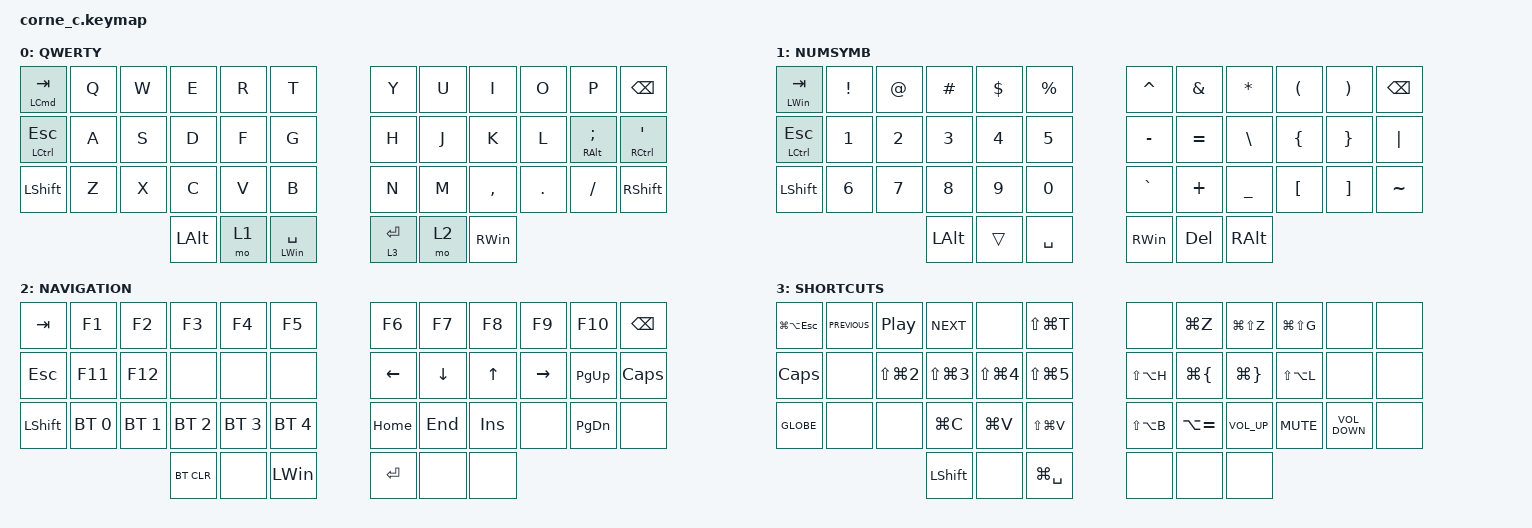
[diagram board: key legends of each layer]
/*
 * Copyright (c) 2020 The ZMK Contributors
 *
 * SPDX-License-Identifier: MIT
 */

#include <behaviors.dtsi>
#include <dt-bindings/zmk/bt.h>
#include <dt-bindings/zmk/keys.h>

#define DEFAULT    0
#define NUMSYMB    1
#define NAVIGATION  2
#define SHORTCUTS   3

/ {
    behaviors {
        ht: ht {
            compatible = "zmk,behavior-hold-tap";
            label = "HT";
            bindings = <&kp>, <&kp>;

            #binding-cells = <2>;
            tapping-term-ms = <200>;
            flavor = "tap-preferred";
            quick-tap-ms = <150>;
        };

        td0: td0 {
            compatible = "zmk,behavior-tap-dance";
            label = "TD0";
            #binding-cells = <0>;
            bindings = <&ht ESCAPE BACKSLASH>, <&kp TAB>;
        };

        td3: td3 {
            compatible = "zmk,behavior-tap-dance";
            label = "TD3";
            #binding-cells = <0>;
            bindings = <&mo 1>, <&mo 3>;
        };

        HMR: HMR {
            compatible = "zmk,behavior-hold-tap";
            label = "HMR";
            bindings = <&kp>, <&kp>;

            #binding-cells = <2>;
            tapping-term-ms = <200>;
            quick-tap-ms = <150>;
            flavor = "tap-preferred";
        };
    };

    combos { compatible = "zmk,combos"; };

    keymap {
        compatible = "zmk,keymap";

        default_layer {
            label = "QWERTY";
            bindings = <
&HMR LEFT_COMMAND TAB     &kp Q  &kp W  &kp E         &kp R  &kp T                  &kp Y        &kp U  &kp I          &kp O       &kp P                &kp BACKSPACE
&HMR LEFT_CONTROL ESCAPE  &kp A  &kp S  &kp D         &kp F  &kp G                  &kp H        &kp J  &kp K          &kp L       &HMR RIGHT_ALT SEMI  &HMR RIGHT_CONTROL APOSTROPHE
&kp LEFT_SHIFT            &kp Z  &kp X  &kp C         &kp V  &kp B                  &kp N        &kp M  &kp COMMA      &kp PERIOD  &kp FSLH             &kp RIGHT_SHIFT
                                        &kp LEFT_ALT  &mo 1  &HMR LEFT_WIN SPACE    &lt 3 ENTER  &mo 2  &kp RIGHT_WIN
            >;
        };

        lower_layer {
            label = "NUMSYMB";
            bindings = <
&HMR LEFT_WIN TAB         &kp EXCLAMATION  &kp AT_SIGN   &kp HASH      &kp DOLLAR    &kp PERCENT    &kp CARET      &kp AMPERSAND  &kp ASTERISK    &kp LEFT_PARENTHESIS  &kp RIGHT_PARENTHESIS  &kp BSPC
&HMR LEFT_CONTROL ESCAPE  &kp NUMBER_1     &kp NUMBER_2  &kp NUMBER_3  &kp NUMBER_4  &kp N5         &kp MINUS      &kp EQUAL      &kp BACKSLASH   &kp LEFT_BRACE        &kp RIGHT_BRACE        &kp PIPE
&kp LEFT_SHIFT            &kp NUMBER_6     &kp N7        &kp N8        &kp N9        &kp N0         &kp GRAVE      &kp PLUS       &kp UNDERSCORE  &kp LEFT_BRACKET      &kp RIGHT_BRACKET      &kp TILDE
                                                         &kp LEFT_ALT  &trans        &kp SPACE      &kp RIGHT_WIN  &kp DELETE     &kp RIGHT_ALT
            >;
        };

        raise_layer {
            label = "NAVIGATION";
            bindings = <
&kp TAB     &kp F1        &kp F2        &kp F3        &kp F4        &kp F5          &kp F6    &kp F7    &kp F8   &kp F9     &kp F10        &kp BSPC
&kp ESCAPE  &kp F11       &kp F12       &none         &none         &none           &kp LEFT  &kp DOWN  &kp UP   &kp RIGHT  &kp PG_UP      &kp CAPSLOCK
&kp LSHFT   &bt BT_SEL 0  &bt BT_SEL 1  &bt BT_SEL 2  &bt BT_SEL 3  &bt BT_SEL 4    &kp HOME  &kp END   &kp INS  &none      &kp PAGE_DOWN  &none
                                        &bt BT_CLR    &none         &kp LEFT_WIN    &kp RET   &none     &none
            >;
        };

        layer_3 {
            label = "SHORTCUTS";
            bindings = <
&kp LG(LA(ESCAPE))  &kp C_PREVIOUS  &kp C_PP        &kp C_NEXT      &none           &kp LS(LG(T))     &none          &kp LG(Z)           &kp LG(LS(Z))        &kp LG(LS(G))  &none              &none
&kp CAPSLOCK        &none           &kp LS(LG(N2))  &kp LS(LG(N3))  &kp LS(LG(N4))  &kp LS(LG(N5))    &kp LS(LA(H))  &kp LG(LEFT_BRACE)  &kp LG(RIGHT_BRACE)  &kp LS(LA(L))  &none              &none
&kp GLOBE           &none           &none           &kp LG(C)       &kp LG(V)       &kp LS(LG(V))     &kp LS(LA(B))  &kp LA(EQUAL)       &kp C_VOLUME_UP      &kp C_MUTE     &kp C_VOLUME_DOWN  &none
                                                    &kp LEFT_SHIFT  &none           &kp LG(SPACE)     &none          &none               &none
            >;
        };
    };
};
